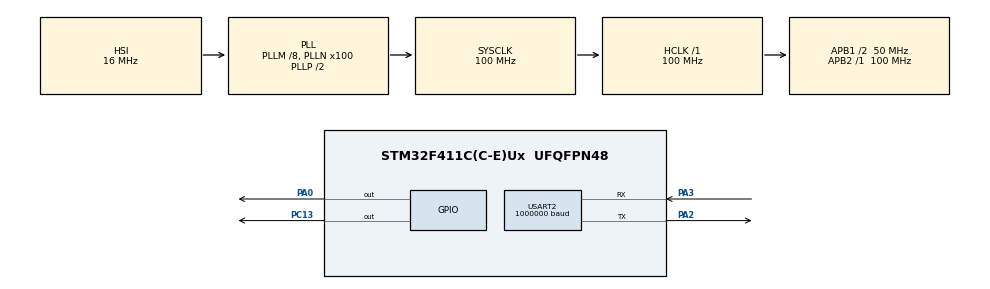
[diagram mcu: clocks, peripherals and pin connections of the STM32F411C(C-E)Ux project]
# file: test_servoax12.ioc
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Mcu.Family=STM32F4
Mcu.Name=STM32F411C(C-E)Ux
Mcu.Package=UFQFPN48
NVIC.PriorityGroup=NVIC_PRIORITYGROUP_4
NVIC.USART2_IRQn=true\:0\:0\:false\:false\:true\:true\:true\:true
PA0-WKUP.Signal=GPIO_Output
PA13.Mode=Serial_Wire
PA13.Signal=SYS_JTMS-SWDIO
PA14.Mode=Serial_Wire
PA14.Signal=SYS_JTCK-SWCLK
PA2.Mode=Asynchronous
PA2.Signal=USART2_TX
PA3.Mode=Asynchronous
PA3.Signal=USART2_RX
PC13-ANTI_TAMP.Signal=GPIO_Output
PH0\ -\ OSC_IN.Mode=HSE-External-Oscillator
PH0\ -\ OSC_IN.Signal=RCC_OSC_IN
PH1\ -\ OSC_OUT.Mode=HSE-External-Oscillator
PH1\ -\ OSC_OUT.Signal=RCC_OSC_OUT
ProjectManager.HeapSize=0x200
ProjectManager.StackSize=0x400
ProjectManager.TargetToolchain=STM32CubeIDE
RCC.48MHZClocksFreq_Value=50000000
RCC.AHBFreq_Value=100000000
RCC.APB1CLKDivider=RCC_HCLK_DIV2
RCC.APB1Freq_Value=50000000
RCC.APB1TimFreq_Value=100000000
RCC.APB2Freq_Value=100000000
RCC.APB2TimFreq_Value=100000000
RCC.CortexFreq_Value=100000000
RCC.HCLKFreq_Value=100000000
RCC.HSE_VALUE=25000000
RCC.HSI_VALUE=16000000
RCC.LSE_VALUE=32768
RCC.PLLM=8
RCC.PLLN=100
RCC.SYSCLKFreq_VALUE=100000000
RCC.SYSCLKSource=RCC_SYSCLKSOURCE_PLLCLK
RCC.VCOOutputFreq_Value=200000000
TIM5.Prescaler=100-1
USART2.BaudRate=1000000
USART2.VirtualMode=VM_ASYNC
VP_TIM5_VS_ClockSourceINT.Mode=Internal
board=custom

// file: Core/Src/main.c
/* USER CODE BEGIN Header */
/**
  ******************************************************************************
  * @file           : main.c
  * @brief          : Main program body
  * @author			: rahmat bocchi lover
  ******************************************************************************
  * @attention
  *
  * Copyright (c) 2025 STMicroelectronics.
  * All rights reserved.
  *
  * This software is licensed under terms that can be found in the LICENSE file
  * in the root directory of this software component.
  * If no LICENSE file comes with this software, it is provided AS-IS.
  *
  ******************************************************************************
  */
/* USER CODE END Header */
#include "main.h"

TIM_HandleTypeDef htim5;
UART_HandleTypeDef huart2;

void SystemClock_Config(void);
static void MX_GPIO_Init(void);
static void MX_TIM5_Init(void);
static void MX_USART2_UART_Init(void);
/* USER CODE BEGIN PFP */
void delay_us(uint32_t us);
/* USER CODE END PFP */

/* USER CODE BEGIN 0 */

void setupInitialCoxa(void)
{
	posArray[0]  = 512;
	posArray[3]  = 512;
	posArray[6]  = 512;
	posArray[9]  = 512;
	posArray[12] = 512;
	posArray[15] = 512;

	for (int i = 0; i < 18; i++) {
		speedArray[i] = 200;
	}
}

/* USER CODE END 0 */

int main(void)
{

  /* MCU Configuration--------------------------------------------------------*/

  /* Reset of all peripherals, Initializes the Flash interface and the Systick. */
  HAL_Init();

  /* Configure the system clock */
  SystemClock_Config();

  /* Initialize all configured peripherals */
  MX_GPIO_Init();
  MX_TIM5_Init();
  MX_USART2_UART_Init();
  /* USER CODE BEGIN 2 */
  HAL_TIM_Base_Start(&htim5);
  HAL_Delay(500);

  /* Initialize Dynamixel communication */
  Dynamixel_Init();

  /* Define servo ID */
  uint8_t servoID = 11;

  /* DEBUGGING: Toggle LED to indicate program start */
  HAL_GPIO_WritePin(GPIOC, GPIO_PIN_13, GPIO_PIN_SET);
  HAL_Delay(250);
  HAL_GPIO_WritePin(GPIOC, GPIO_PIN_13, GPIO_PIN_RESET);
  HAL_Delay(250);

  /* First, check if the servo is responding */
  if (Dynamixel_Ping(servoID) == HAL_OK) {
	  for (int i = 0; i < 2; i++) {
		  HAL_GPIO_WritePin(GPIOC, GPIO_PIN_13, GPIO_PIN_SET);
		  HAL_Delay(500);
		  HAL_GPIO_WritePin(GPIOC, GPIO_PIN_13, GPIO_PIN_RESET);
		  HAL_Delay(500);
	  }
  } else {
	  for (int i = 0; i < 5; i++) {
		  HAL_GPIO_WritePin(GPIOC, GPIO_PIN_13, GPIO_PIN_SET);
		  HAL_Delay(100);
		  HAL_GPIO_WritePin(GPIOC, GPIO_PIN_13, GPIO_PIN_RESET);
		  HAL_Delay(100);
	  }

	  servoID = 11;
	  if (Dynamixel_Ping(servoID) == HAL_OK) {
		  for (int i = 0; i < 3; i++) {
			  HAL_GPIO_WritePin(GPIOC, GPIO_PIN_13, GPIO_PIN_SET);
			  HAL_Delay(200);
			  HAL_GPIO_WritePin(GPIOC, GPIO_PIN_13, GPIO_PIN_RESET);
			  HAL_Delay(200);
		  }
	  }
  }

  /* Configure servo parameters */
  Dynamixel_SetMaxTorque(servoID, 1023);
  HAL_Delay(20);

  Dynamixel_SetSlope(servoID, 64, 64);  // values from 1-254
  HAL_Delay(20);

  Dynamixel_SetPunch(servoID, 32);  // values from 0-1023
  HAL_Delay(20);

  Dynamixel_SetAngle(servoID, 150, 100);
  HAL_Delay(1000);

  setupInitialCoxa();
  if (Start_Pose_SYNC() != HAL_OK) {
      Error_Handler();
  }
  /* USER CODE END 2 */

  /* Infinite loop */
  while (1)
  {
	Dynamixel_SetAngle(servoID, 200, 200);
	HAL_Delay(700);

	Dynamixel_SetAngle(servoID, 100, 200);
	HAL_Delay(700);
  }
}

void SystemClock_Config(void)
{
  RCC_OscInitTypeDef RCC_OscInitStruct = {0};
  RCC_ClkInitTypeDef RCC_ClkInitStruct = {0};

  /** Configure the main internal regulator output voltage
  */
  __HAL_RCC_PWR_CLK_ENABLE();
  __HAL_PWR_VOLTAGESCALING_CONFIG(PWR_REGULATOR_VOLTAGE_SCALE1);

  /** Initializes the RCC Oscillators according to the specified parameters
  * in the RCC_OscInitTypeDef structure.
  */
  RCC_OscInitStruct.OscillatorType = RCC_OSCILLATORTYPE_HSI;
  RCC_OscInitStruct.HSIState = RCC_HSI_ON;
  RCC_OscInitStruct.HSICalibrationValue = RCC_HSICALIBRATION_DEFAULT;
  RCC_OscInitStruct.PLL.PLLState = RCC_PLL_ON;
  RCC_OscInitStruct.PLL.PLLSource = RCC_PLLSOURCE_HSI;
  RCC_OscInitStruct.PLL.PLLM = 8;
  RCC_OscInitStruct.PLL.PLLN = 100;
  RCC_OscInitStruct.PLL.PLLP = RCC_PLLP_DIV2;
  RCC_OscInitStruct.PLL.PLLQ = 4;
  if (HAL_RCC_OscConfig(&RCC_OscInitStruct) != HAL_OK)
  {
    Error_Handler();
  }

  /** Initializes the CPU, AHB and APB buses clocks
  */
  RCC_ClkInitStruct.ClockType = RCC_CLOCKTYPE_HCLK|RCC_CLOCKTYPE_SYSCLK
                              |RCC_CLOCKTYPE_PCLK1|RCC_CLOCKTYPE_PCLK2;
  RCC_ClkInitStruct.SYSCLKSource = RCC_SYSCLKSOURCE_PLLCLK;
  RCC_ClkInitStruct.AHBCLKDivider = RCC_SYSCLK_DIV1;
  RCC_ClkInitStruct.APB1CLKDivider = RCC_HCLK_DIV2;
  RCC_ClkInitStruct.APB2CLKDivider = RCC_HCLK_DIV1;

  if (HAL_RCC_ClockConfig(&RCC_ClkInitStruct, FLASH_LATENCY_3) != HAL_OK)
  {
    Error_Handler();
  }
}

static void MX_TIM5_Init(void)
{

  TIM_ClockConfigTypeDef sClockSourceConfig = {0};
  TIM_MasterConfigTypeDef sMasterConfig = {0};

  htim5.Instance = TIM5;
  htim5.Init.Prescaler = 100-1;
  htim5.Init.CounterMode = TIM_COUNTERMODE_UP;
  htim5.Init.Period = 4294967295;
  htim5.Init.ClockDivision = TIM_CLOCKDIVISION_DIV1;
  htim5.Init.AutoReloadPreload = TIM_AUTORELOAD_PRELOAD_DISABLE;
  if (HAL_TIM_Base_Init(&htim5) != HAL_OK)
  {
    Error_Handler();
  }
  sClockSourceConfig.ClockSource = TIM_CLOCKSOURCE_INTERNAL;
  if (HAL_TIM_ConfigClockSource(&htim5, &sClockSourceConfig) != HAL_OK)
  {
    Error_Handler();
  }
  sMasterConfig.MasterOutputTrigger = TIM_TRGO_RESET;
  sMasterConfig.MasterSlaveMode = TIM_MASTERSLAVEMODE_DISABLE;
  if (HAL_TIMEx_MasterConfigSynchronization(&htim5, &sMasterConfig) != HAL_OK)
  {
    Error_Handler();
  }

}

static void MX_USART2_UART_Init(void)
{

  huart2.Instance = USART2;
  huart2.Init.BaudRate = 1000000;
  huart2.Init.WordLength = UART_WORDLENGTH_8B;
  huart2.Init.StopBits = UART_STOPBITS_1;
  huart2.Init.Parity = UART_PARITY_NONE;
  huart2.Init.Mode = UART_MODE_TX_RX;
  huart2.Init.HwFlowCtl = UART_HWCONTROL_NONE;
  huart2.Init.OverSampling = UART_OVERSAMPLING_16;
  if (HAL_UART_Init(&huart2) != HAL_OK)
  {
    Error_Handler();
  }

}

static void MX_GPIO_Init(void)
{
  GPIO_InitTypeDef GPIO_InitStruct = {0};

  /* GPIO Ports Clock Enable */
  __HAL_RCC_GPIOC_CLK_ENABLE();
  __HAL_RCC_GPIOH_CLK_ENABLE();
  __HAL_RCC_GPIOA_CLK_ENABLE();

  /*Configure GPIO pin Output Level */
  HAL_GPIO_WritePin(GPIOC, GPIO_PIN_13, GPIO_PIN_RESET);

  /*Configure GPIO pin Output Level */
  HAL_GPIO_WritePin(GPIOA, GPIO_PIN_0, GPIO_PIN_RESET);

  /*Configure GPIO pin : PC13 */
  GPIO_InitStruct.Pin = GPIO_PIN_13;
  GPIO_InitStruct.Mode = GPIO_MODE_OUTPUT_PP;
  GPIO_InitStruct.Pull = GPIO_NOPULL;
  GPIO_InitStruct.Speed = GPIO_SPEED_FREQ_LOW;
  HAL_GPIO_Init(GPIOC, &GPIO_InitStruct);

  /*Configure GPIO pin : PA0 */
  GPIO_InitStruct.Pin = GPIO_PIN_0;
  GPIO_InitStruct.Mode = GPIO_MODE_OUTPUT_PP;
  GPIO_InitStruct.Pull = GPIO_NOPULL;
  GPIO_InitStruct.Speed = GPIO_SPEED_FREQ_HIGH;
  HAL_GPIO_Init(GPIOA, &GPIO_InitStruct);

}

/* USER CODE BEGIN 4 */

// delay microseconds
void delay_us(uint32_t us) {
  uint32_t start = __HAL_TIM_GET_COUNTER(&htim5);

  if (start + us < start) {
    while (__HAL_TIM_GET_COUNTER(&htim5) >= start);
    start = 0;
  }

  while ((__HAL_TIM_GET_COUNTER(&htim5) - start) < us);
}

/* USER CODE END 4 */

void Error_Handler(void)
{
  __disable_irq();
  while (1)
  {
  }
}
